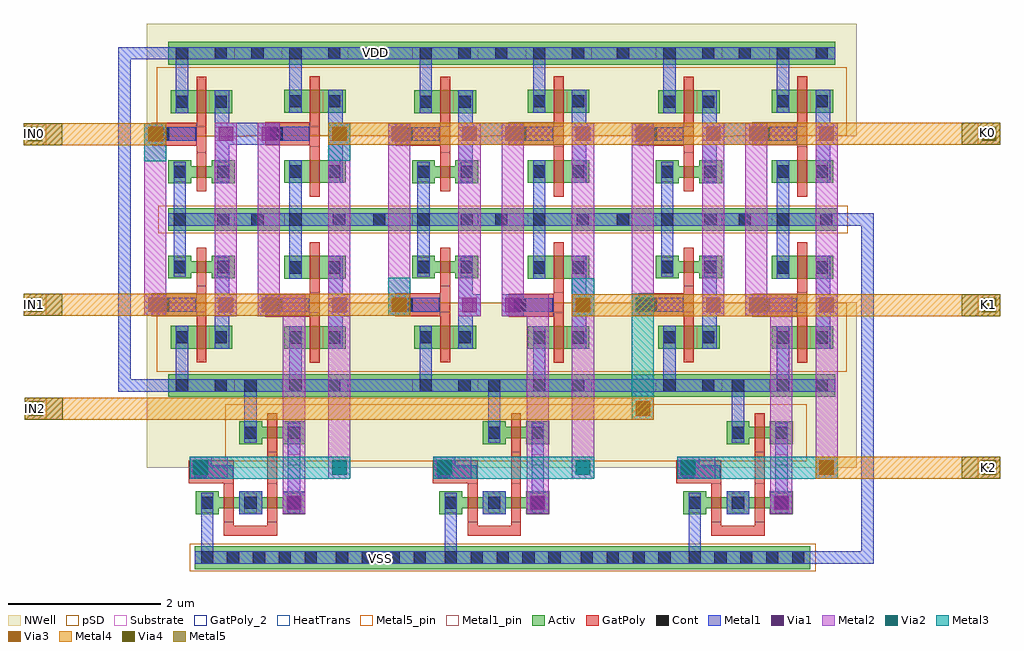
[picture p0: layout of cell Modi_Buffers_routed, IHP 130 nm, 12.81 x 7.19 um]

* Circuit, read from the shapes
.subckt Modi_Buffers_routed IN0 IN1 IN2 K0 K1 K2 VDD VSS
XM1 Modi_Buffers_placement_23/Buffers$1_0_0/INV05_2/VOUT IN0 VSS VSS sg13_lv_nmos w=0.15u l=0.13u m=2
XM2 n1 K0 VSS VSS sg13_lv_nmos w=0.15u l=0.13u
XM3 Modi_Buffers_placement_23/Buffers$1_0_0/INV05_2/VOUT K0 n1 VSS sg13_lv_nmos w=0.15u l=0.13u
XM4 K0 Modi_Buffers_placement_23/Buffers$1_0_0/INV05_2/VOUT VSS VSS sg13_lv_nmos w=0.3u l=0.13u m=2
XM5 Modi_Buffers_placement_23/Buffers$1_0_1/INV05_2/VOUT IN1 VSS VSS sg13_lv_nmos w=0.15u l=0.13u m=2
XM6 n2 K1 VSS VSS sg13_lv_nmos w=0.15u l=0.13u
XM7 Modi_Buffers_placement_23/Buffers$1_0_1/INV05_2/VOUT K1 n2 VSS sg13_lv_nmos w=0.15u l=0.13u
XM8 K1 Modi_Buffers_placement_23/Buffers$1_0_1/INV05_2/VOUT VSS VSS sg13_lv_nmos w=0.3u l=0.13u m=2
XM9 Modi_Buffers_placement_23/Buffers$1_0_2/INV05_2/VOUT IN2 VSS VSS sg13_lv_nmos w=0.15u l=0.13u m=2
XM10 n3 K2 VSS VSS sg13_lv_nmos w=0.15u l=0.13u
XM11 Modi_Buffers_placement_23/Buffers$1_0_2/INV05_2/VOUT K2 n3 VSS sg13_lv_nmos w=0.15u l=0.13u
XM12 K2 Modi_Buffers_placement_23/Buffers$1_0_2/INV05_2/VOUT VSS VSS sg13_lv_nmos w=0.3u l=0.13u m=2
XM13 Modi_Buffers_placement_23/Buffers$1_0_0/INV05_2/VOUT IN0 VDD VDD sg13_lv_pmos w=0.3u l=0.13u m=2
XM14 Modi_Buffers_placement_23/Buffers$1_0_0/INV05_2/VOUT K0 VDD VDD sg13_lv_pmos w=0.15u l=0.13u
XM15 K0 Modi_Buffers_placement_23/Buffers$1_0_0/INV05_2/VOUT VDD VDD sg13_lv_pmos w=0.3u l=0.13u m=2
XM16 Modi_Buffers_placement_23/Buffers$1_0_1/INV05_2/VOUT IN1 VDD VDD sg13_lv_pmos w=0.3u l=0.13u m=2
XM17 Modi_Buffers_placement_23/Buffers$1_0_1/INV05_2/VOUT K1 VDD VDD sg13_lv_pmos w=0.15u l=0.13u
XM18 K1 Modi_Buffers_placement_23/Buffers$1_0_1/INV05_2/VOUT VDD VDD sg13_lv_pmos w=0.3u l=0.13u m=2
XM19 Modi_Buffers_placement_23/Buffers$1_0_2/INV05_2/VOUT IN2 VDD VDD sg13_lv_pmos w=0.3u l=0.13u m=2
XM20 Modi_Buffers_placement_23/Buffers$1_0_2/INV05_2/VOUT K2 VDD VDD sg13_lv_pmos w=0.15u l=0.13u
XM21 K2 Modi_Buffers_placement_23/Buffers$1_0_2/INV05_2/VOUT VDD VDD sg13_lv_pmos w=0.3u l=0.13u m=2
.ends

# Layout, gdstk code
import gdstk
lib = gdstk.Library(unit=1e-6, precision=5e-09)
def R(c, l, rs):  # rectangles x0, y0, x1, y1
    for r in rs: c.add(gdstk.rectangle(r[:2], r[2:], *l))
def A(c, l, x, y, w, h, nx, ny, dx, dy):  # array of equal rectangles
    R(c, l, [(x+i*dx, y+j*dy, x+i*dx+w, y+j*dy+h) for i in range(nx) for j in range(ny)])
Activ = (1, 0)
GatPoly = (5, 0)
GatPoly_2 = (5, 2)
Cont = (6, 0)
Metal1 = (8, 0)
Metal1_pin = (8, 2)
Metal2 = (10, 0)
pSD = (14, 0)
Via1 = (19, 0)
Via2 = (29, 0)
Metal3 = (30, 0)
NWell = (31, 0)
Substrate = (40, 0)
Via3 = (49, 0)
Metal4 = (50, 0)
HeatTrans = (51, 0)
Via4 = (66, 0)
Metal5 = (67, 0)
Metal5_pin = (67, 2)

via2_constraint_16 = lib.new_cell('Via2_constraint$16')
R(via2_constraint_16, Metal2, [(0,0,0.29,0.29)])
R(via2_constraint_16, Via2, [(0.05,0.05,0.24,0.24)])
R(via2_constraint_16, Metal3, [(0,0,0.29,0.29)])

via3_constraint_9 = lib.new_cell('Via3_constraint$9')
R(via3_constraint_9, Metal3, [(0,0,0.29,0.29)])
R(via3_constraint_9, Via3, [(0.05,0.05,0.24,0.24)])
R(via3_constraint_9, Metal4, [(0,0,0.29,0.29)])

via4_constraint_4 = lib.new_cell('Via4_constraint$4')
R(via4_constraint_4, Metal4, [(0,0,0.29,0.29)])
R(via4_constraint_4, Via4, [(0.05,0.05,0.24,0.24)])
R(via4_constraint_4, Metal5, [(0,0,0.29,0.29)])

nmos_17 = lib.new_cell('nmos$17')
R(nmos_17, Activ, [(0,0,0.3,0.3), (0.57,0,0.87,0.3), (0,0.075,0.87,0.225)])
R(nmos_17, GatPoly, [(0.37,-0.105,0.5,0.405)])
R(nmos_17, GatPoly_2, [(0.37,-0.105,0.5,0.405)])
R(nmos_17, Cont, [(0.07,0.07,0.23,0.23), (0.64,0.07,0.8,0.23)])
R(nmos_17, Metal1, [(0.07,0.02,0.23,0.28), (0.64,0.02,0.8,0.28)])
R(nmos_17, Metal1_pin, [(0.07,0.02,0.23,0.28), (0.64,0.02,0.8,0.28)])
R(nmos_17, HeatTrans, [(0.37,-0.105,0.5,0.405)])
nmos_17.add(gdstk.Label('nmos', (0.435,0.15), layer=63, texttype=0))
nmos_17.add(gdstk.Label('nmos', (0.435,0.15), layer=51, texttype=0))

pmos_1_8 = lib.new_cell('pmos$1$8')
R(pmos_1_8, Activ, [(0,0,0.3,0.3), (0,0,0.81,0.3), (0.51,0,0.81,0.3)])
R(pmos_1_8, GatPoly, [(0.34,-0.18,0.47,0.48), (0.34,-0.18,0.47,0.48)])
R(pmos_1_8, Cont, [(0.07,0.07,0.23,0.23), (0.58,0.07,0.74,0.23)])
R(pmos_1_8, Metal1, [(0.07,0,0.23,0.3), (0.07,0,0.23,0.3), (0.58,0,0.74,0.3), (0.58,0,0.74,0.3)])
R(pmos_1_8, pSD, [(-0.18,-0.3,0.99,0.6)])
R(pmos_1_8, NWell, [(-0.31,-0.31,1.12,0.61)])
R(pmos_1_8, Substrate, [(0.51,0,0.81,0.3)])
R(pmos_1_8, HeatTrans, [(0.34,-0.18,0.47,0.48)])
pmos_1_8.add(gdstk.Label('pmos', (0.405,0.15), layer=63, texttype=0))
pmos_1_8.add(gdstk.Label('pmos', (0.405,0.15), layer=51, texttype=0))

via1_constraint_16 = lib.new_cell('Via1_constraint$16')
R(via1_constraint_16, Metal1, [(0,0,0.29,0.29)])
R(via1_constraint_16, Metal2, [(0,0,0.29,0.29)])
R(via1_constraint_16, Via1, [(0.05,0.05,0.24,0.24)])

inv_d1_8 = lib.new_cell('INV_D1$8')
R(inv_d1_8, Activ, [(0.28,-0.04,1.15,0.26), (0.28,2.14,1.15,2.44)])
R(inv_d1_8, GatPoly, [(0.06,1.08,0.65,1.38), (0.65,1.11,0.78,1.325)])
R(inv_d1_8, GatPoly_2, [(0.06,1.08,0.65,1.38)])
R(inv_d1_8, Cont, [(0.35,0.03,0.51,0.19), (0.92,0.03,1.08,0.19), (0.13,1.15,0.29,1.31), (0.38,2.21,0.54,2.37), (0.89,2.21,1.05,2.37)])
R(inv_d1_8, Metal1, [(0.28,0.03,1.15,0.19), (0.07,1.14,0.64,1.32), (0.28,2.21,1.15,2.37)])
R(inv_d1_8, Metal1_pin, [(0.28,0.03,1.15,0.19), (0.07,1.14,0.64,1.32), (0.89,1.14,1.08,1.32), (0.28,2.21,1.15,2.37)])
R(inv_d1_8, pSD, [(0.15,-0.07,1.28,0.29)])
R(inv_d1_8, NWell, [(0,2.115,1.43,2.68)])
R(inv_d1_8, Substrate, [(0.82,1.505,1.12,1.805)])
inv_d1_8.add(gdstk.FlexPath([(0.46,1.805),(0.46,2.37)], 0.16, ends="flush", simple_path=True, layer=8, datatype=0))  # Metal1
inv_d1_8.add(gdstk.FlexPath([(0.43,0.865),(0.43,0.03)], 0.16, ends="flush", simple_path=True, layer=8, datatype=0))  # Metal1
inv_d1_8.add(gdstk.FlexPath([(0.985,0.585),(0.985,1.805)], 0.19, ends="flush", simple_path=True, layer=8, datatype=0))  # Metal1
inv_d1_8.add(gdstk.FlexPath([(0.715,1.11),(0.715,0.99)], 0.13, ends="flush", simple_path=True, layer=5, datatype=0))  # GatPoly
inv_d1_8.add(gdstk.Reference(nmos_17, (0.28,0.585)))
inv_d1_8.add(gdstk.Reference(pmos_1_8, (0.31,1.505)))
inv_d1_8.add(gdstk.Reference(via1_constraint_16, (-0.035,1.085)))
inv_d1_8.add(gdstk.Reference(via1_constraint_16, (0.89,1.09)))
inv_d1_8.add(gdstk.Label('nmos', (0.715,0.655), layer=63, texttype=0))
inv_d1_8.add(gdstk.Label('VDD', (0.655,2.285), layer=8, texttype=25))
inv_d1_8.add(gdstk.Label('VSS', (0.65,0.105), layer=8, texttype=25))
inv_d1_8.add(gdstk.Label('VIN', (0.285,1.175), layer=8, texttype=25))
inv_d1_8.add(gdstk.Label('VOUT', (1.03,1.165), layer=8, texttype=25))

pmos_10 = lib.new_cell('pmos$10')
R(pmos_10, Activ, [(0,0,0.3,0.3), (0,0,0.81,0.3), (0.51,0,0.81,0.3)])
R(pmos_10, GatPoly, [(0.34,-0.18,0.47,0.48), (0.34,-0.18,0.47,0.48)])
R(pmos_10, Cont, [(0.07,0.07,0.23,0.23), (0.58,0.07,0.74,0.23)])
R(pmos_10, Metal1, [(0.07,0,0.23,0.3), (0.07,0,0.23,0.3), (0.58,0,0.74,0.3), (0.58,0,0.74,0.3)])
R(pmos_10, pSD, [(-0.18,-0.3,0.99,0.6)])
R(pmos_10, NWell, [(-0.31,-0.31,1.12,0.61)])
R(pmos_10, Substrate, [(0.51,0,0.81,0.3)])
R(pmos_10, HeatTrans, [(0.34,-0.18,0.47,0.48)])
pmos_10.add(gdstk.Label('pmos', (0.405,0.15), layer=63, texttype=0))
pmos_10.add(gdstk.Label('pmos', (0.405,0.15), layer=51, texttype=0))

nmos_1_8 = lib.new_cell('nmos$1$8')
R(nmos_1_8, Activ, [(0,0,0.3,0.3), (0,0,0.81,0.3), (0.51,0,0.81,0.3)])
R(nmos_1_8, GatPoly, [(0.34,-0.18,0.47,0.48)])
R(nmos_1_8, GatPoly_2, [(0.34,-0.18,0.47,0.48)])
R(nmos_1_8, Cont, [(0.07,0.07,0.23,0.23), (0.58,0.07,0.74,0.23)])
R(nmos_1_8, Metal1, [(0.07,0,0.23,0.3), (0.58,0,0.74,0.3)])
R(nmos_1_8, Metal1_pin, [(0.07,0,0.23,0.3), (0.58,0,0.74,0.3)])
R(nmos_1_8, HeatTrans, [(0.34,-0.18,0.47,0.48)])
nmos_1_8.add(gdstk.Label('nmos', (0.405,0.15), layer=63, texttype=0))
nmos_1_8.add(gdstk.Label('nmos', (0.405,0.15), layer=51, texttype=0))

inv_d1_1_8 = lib.new_cell('INV_D1$1$8')
R(inv_d1_1_8, Activ, [(0.31,-0.045,1.18,0.255), (0.28,2.135,1.15,2.435)])
R(inv_d1_1_8, GatPoly, [(0.06,1.08,0.65,1.38), (0.65,1.11,0.78,1.325)])
R(inv_d1_1_8, GatPoly_2, [(0.06,1.08,0.65,1.38)])
R(inv_d1_1_8, Cont, [(0.38,0.025,0.54,0.185), (0.95,0.025,1.11,0.185), (0.13,1.15,0.29,1.31), (0.38,2.205,0.54,2.365), (0.89,2.205,1.05,2.365)])
R(inv_d1_1_8, Metal1, [(0.31,0.025,1.18,0.185), (0.07,1.14,0.64,1.32), (0.28,2.205,1.15,2.365)])
R(inv_d1_1_8, Metal1_pin, [(0.31,0.025,1.18,0.185), (0.07,1.14,0.64,1.32), (0.89,1.14,1.08,1.32), (0.28,2.205,1.15,2.365)])
R(inv_d1_1_8, pSD, [(0.18,-0.075,1.31,0.285)])
R(inv_d1_1_8, NWell, [(0,2.115,1.43,2.675)])
R(inv_d1_1_8, Substrate, [(0.82,1.505,1.12,1.805)])
inv_d1_1_8.add(gdstk.FlexPath([(0.46,0.865),(0.46,0.025)], 0.16, ends="flush", simple_path=True, layer=8, datatype=0))  # Metal1
inv_d1_1_8.add(gdstk.FlexPath([(0.46,1.805),(0.46,2.365)], 0.16, ends="flush", simple_path=True, layer=8, datatype=0))  # Metal1
inv_d1_1_8.add(gdstk.FlexPath([(0.985,0.585),(0.985,1.805)], 0.19, ends="flush", simple_path=True, layer=8, datatype=0))  # Metal1
inv_d1_1_8.add(gdstk.FlexPath([(0.715,1.11),(0.715,0.99)], 0.13, ends="flush", simple_path=True, layer=5, datatype=0))  # GatPoly
inv_d1_1_8.add(gdstk.Reference(pmos_10, (0.31,1.505)))
inv_d1_1_8.add(gdstk.Reference(nmos_1_8, (0.31,0.585)))
inv_d1_1_8.add(gdstk.Label('nmos', (0.745,0.655), layer=63, texttype=0))
inv_d1_1_8.add(gdstk.Label('VSS', (0.68,0.1), layer=8, texttype=25))
inv_d1_1_8.add(gdstk.Label('VIN', (0.285,1.175), layer=8, texttype=25))
inv_d1_1_8.add(gdstk.Label('VOUT', (1.03,1.165), layer=8, texttype=25))
inv_d1_1_8.add(gdstk.Label('VDD', (0.655,2.28), layer=8, texttype=25))

inv_d2 = lib.new_cell('INV_D2')
inv_d2.add(gdstk.Reference(inv_d1_1_8, (9.805,-0.765)))
inv_d2.add(gdstk.Reference(via1_constraint_16, (9.77,0.32)))
inv_d2.add(gdstk.Reference(via1_constraint_16, (10.695,0.32)))

pmos_2_6 = lib.new_cell('pmos$2$6')
R(pmos_2_6, Activ, [(0,0,0.3,0.3), (0.57,0,0.87,0.3), (0,0.075,0.87,0.225)])
R(pmos_2_6, GatPoly, [(0.37,-0.105,0.5,0.405), (0.37,-0.105,0.5,0.405)])
R(pmos_2_6, Cont, [(0.07,0.07,0.23,0.23), (0.64,0.07,0.8,0.23)])
R(pmos_2_6, Metal1, [(0.07,0.02,0.23,0.28), (0.07,0.02,0.23,0.28), (0.64,0.02,0.8,0.28), (0.64,0.02,0.8,0.28)])
R(pmos_2_6, pSD, [(-0.18,-0.225,1.05,0.525)])
R(pmos_2_6, NWell, [(-0.31,-0.31,1.18,0.61)])
R(pmos_2_6, Substrate, [(0.57,0,0.87,0.3)])
R(pmos_2_6, HeatTrans, [(0.37,-0.105,0.5,0.405)])
pmos_2_6.add(gdstk.Label('pmos', (0.435,0.15), layer=63, texttype=0))
pmos_2_6.add(gdstk.Label('pmos', (0.435,0.15), layer=51, texttype=0))

nmos_2_4 = lib.new_cell('nmos$2$4')
R(nmos_2_4, Activ, [(0,0,0.3,0.3), (0.57,0,0.87,0.3), (0,0.075,0.87,0.225)])
R(nmos_2_4, GatPoly, [(0.37,-0.105,0.5,0.405)])
R(nmos_2_4, GatPoly_2, [(0.37,-0.105,0.5,0.405)])
R(nmos_2_4, Cont, [(0.07,0.07,0.23,0.23), (0.64,0.07,0.8,0.23)])
R(nmos_2_4, Metal1, [(0.07,0.02,0.23,0.28), (0.64,0.02,0.8,0.28)])
R(nmos_2_4, Metal1_pin, [(0.07,0.02,0.23,0.28), (0.64,0.02,0.8,0.28)])
R(nmos_2_4, HeatTrans, [(0.37,-0.105,0.5,0.405)])
nmos_2_4.add(gdstk.Label('nmos', (0.435,0.15), layer=63, texttype=0))
nmos_2_4.add(gdstk.Label('nmos', (0.435,0.15), layer=51, texttype=0))

via_stack_62 = lib.new_cell('via_stack$62')
R(via_stack_62, Activ, [(-0.83,-0.15,0.83,0.15)])
A(via_stack_62, Cont, -0.76, -0.08, 0.16, 0.16, 5, 1, 0.34, 0)
R(via_stack_62, Metal1, [(-0.81,-0.08,0.81,0.08)])

inv05 = lib.new_cell('INV05')
R(inv05, Activ, [(0.08,0.03,1.76,0.33), (0.35,2.29,1.54,2.59)])
R(inv05, GatPoly, [(0,1.155,0.59,1.455)])
R(inv05, GatPoly_2, [(0.46,1.035,0.59,1.155), (0,1.155,0.59,1.455)])
R(inv05, Cont, [(0.73,0.82,0.89,0.98), (0.07,1.225,0.23,1.385), (0.73,2.36,0.89,2.52)])
R(inv05, Metal1, [(0.08,0.1,1.76,0.26), (0.66,0.75,0.96,1.05), (0.01,1.215,0.58,1.395), (0.35,2.36,1.54,2.52)])
R(inv05, Metal1_pin, [(0.16,0.1,0.32,0.26), (1.3,1.39,1.46,1.535), (0.73,2.36,0.89,2.52)])
R(inv05, pSD, [(0.01,0,1.83,0.36)])
R(inv05, NWell, [(0.05,1.36,0.35,2.28), (0.05,2.28,1.84,2.83)])
inv05.add(gdstk.FlexPath([(1.38,1.03),(1.38,1.69)], 0.16, ends="flush", simple_path=True, layer=8, datatype=0))  # Metal1
inv05.add(gdstk.FlexPath([(0.24,0.1),(0.24,0.77)], 0.16, ends="flush", simple_path=True, layer=8, datatype=0))  # Metal1
inv05.add(gdstk.FlexPath([(0.81,1.95),(0.81,2.52)], 0.16, ends="flush", simple_path=True, layer=8, datatype=0))  # Metal1
inv05.add(gdstk.FlexPath([(0.525,0.645),(0.525,0.535),(1.095,0.535),(1.095,0.645)], 0.13, ends="flush", simple_path=True, layer=5, datatype=0))  # GatPoly
inv05.add(gdstk.FlexPath([(1.095,1.155),(1.095,1.565)], 0.13, ends="flush", simple_path=True, layer=5, datatype=0))  # GatPoly
inv05.add(gdstk.Reference(pmos_2_6, (0.66,1.67)))
inv05.add(gdstk.Reference(nmos_2_4, (0.09,0.75)))
inv05.add(gdstk.Reference(nmos_2_4, (0.66,0.75)))
inv05.add(gdstk.Reference(via1_constraint_16, (0.01,1.215)))
inv05.add(gdstk.Reference(via1_constraint_16, (1.235,0.755)))
inv05.add(gdstk.Reference(via_stack_62, (0.92,0.18)))
inv05.add(gdstk.Label('VSS', (0.275,0.205), layer=8, texttype=2))
inv05.add(gdstk.Label('VOUT', (1.43,1.505), layer=8, texttype=2))
inv05.add(gdstk.Label('VDD', (0.84,2.49), layer=8, texttype=2))
inv05.add(gdstk.Label('VIN', (0.18,1.28), layer=8, texttype=25))

buffers_1 = lib.new_cell('Buffers$1')
buffers_1.add(gdstk.Reference(inv_d1_8, (0,4.51)))
buffers_1.add(gdstk.Reference(inv_d2, (-8.315,5.28)))
buffers_1.add(gdstk.Reference(inv05, (0.55,0)))
buffers_1.add(gdstk.Reference(inv_d1_8, (0,4.73), x_reflection=True))
buffers_1.add(gdstk.Reference(inv_d2, (-8.315,3.96), x_reflection=True))

modi_buffers_placement = lib.new_cell('Modi_Buffers_placement')
r = gdstk.Reference(buffers_1, (0,0)); r.repetition = gdstk.Repetition(3, 1, v1=(3.2,0), v2=(0,0)); modi_buffers_placement.add(r)

via_stack_61 = lib.new_cell('via_stack$61')
R(via_stack_61, Activ, [(-0.66,-0.15,0.66,0.15)])
A(via_stack_61, Cont, -0.59, -0.08, 0.16, 0.16, 4, 1, 0.34, 0)
R(via_stack_61, Metal1, [(-0.64,-0.08,0.64,0.08)])

via_stack_64 = lib.new_cell('via_stack$64')
R(via_stack_64, Activ, [(-0.15,-0.15,0.15,0.15)])
R(via_stack_64, Cont, [(-0.08,-0.08,0.08,0.08)])
R(via_stack_64, Metal1, [(-0.13,-0.08,0.13,0.08)])

modi_buffers_routed = lib.new_cell('Modi_Buffers_routed')
R(modi_buffers_routed, Activ, [(2.245,0.03,10.325,0.33), (1.895,2.29,10.655,2.59), (1.895,4.47,10.685,4.77), (1.895,6.65,10.655,6.95)])
A(modi_buffers_routed, Metal1, 2.505, 5.6, 0.855, 0.29, 3, 1, 3.2, 0)
R(modi_buffers_routed, Metal1, [(2.245,0.1,10.325,0.26), (10.325,0.1,11.155,0.26), (10.995,0.1,11.155,4.7), (1.24,2.36,1.895,2.52), (1.24,2.36,1.4,6.88), (1.895,2.36,10.655,2.52), (1.895,4.54,10.685,4.7), (10.685,4.54,11.155,4.7), (1.24,6.72,1.895,6.88), (1.895,6.72,10.655,6.88)])
A(modi_buffers_routed, Metal2, 3.4, 0.755, 0.29, 2.885, 3, 1, 3.2, 0)
A(modi_buffers_routed, Metal2, 2.465, 1.215, 0.21, 0.29, 3, 1, 3.2, 0)
A(modi_buffers_routed, Metal2, 3.995, 1.215, 0.29, 2.425, 3, 1, 3.2, 0)
A(modi_buffers_routed, Metal2, 3.07, 3.35, 0.62, 0.29, 3, 1, 3.2, 0)
A(modi_buffers_routed, Metal2, 1.58, 3.355, 0.29, 2.53, 3, 1, 3.2, 0)
R(modi_buffers_routed, Metal2, [(3.07,3.35,3.36,5.89), (3.995,3.35,4.285,5.89), (5.705,3.35,5.995,5.89), (6.27,3.35,6.56,5.89), (7.195,3.35,7.485,5.89), (9.47,3.35,9.76,5.89), (10.395,3.35,10.685,5.89), (2.505,3.355,2.795,5.89), (8.905,3.355,9.195,5.89)])
R(modi_buffers_routed, pSD, [(2.175,0,10.395,0.36), (2.645,1.445,10.275,2.195), (1.745,2.62,10.805,3.525), (1.765,4.44,10.815,4.8), (1.745,5.72,10.805,6.615)])
A(modi_buffers_routed, Metal3, 2.175, 1.215, 2.11, 0.29, 3, 1, 3.2, 0)
R(modi_buffers_routed, Metal3, [(7.98,1.99,8.27,3.645), (7.195,3.64,7.485,3.85), (4.78,3.645,5.07,3.855), (1.58,5.385,1.87,5.595), (3.995,5.39,4.285,5.6)])
R(modi_buffers_routed, NWell, [(1.615,1.36,10.935,3.53), (1.615,5.71,10.935,7.19)])
R(modi_buffers_routed, Metal4, [(10.395,1.215,12.815,1.505), (0.01,1.99,8.27,2.28), (7.195,3.35,12.815,3.64), (0,3.355,5.07,3.645), (0,5.595,1.87,5.885), (3.995,5.6,12.815,5.89), (3.995,5.6,12.815,5.89)])
R(modi_buffers_routed, Metal5, [(12.315,1.215,12.525,1.505), (0.3,1.99,0.51,2.28), (12.315,3.35,12.525,3.64), (0.29,3.355,0.5,3.645), (0.29,5.595,0.5,5.885), (12.315,5.6,12.525,5.89)])
R(modi_buffers_routed, Metal5_pin, [(12.525,1.215,12.815,1.505), (0.01,1.99,0.3,2.28), (12.525,3.35,12.815,3.64), (0,3.355,0.29,3.645), (0,5.595,0.29,5.885), (12.525,5.6,12.815,5.89)])
modi_buffers_routed.add(gdstk.Reference(via2_constraint_16, (2.175,1.215)))
modi_buffers_routed.add(gdstk.Reference(via2_constraint_16, (3.995,1.215)))
modi_buffers_routed.add(gdstk.Reference(via2_constraint_16, (5.375,1.215)))
modi_buffers_routed.add(gdstk.Reference(via2_constraint_16, (8.575,1.215)))
modi_buffers_routed.add(gdstk.Reference(via2_constraint_16, (7.195,1.215)))
modi_buffers_routed.add(gdstk.Reference(via2_constraint_16, (10.395,1.215)))
modi_buffers_routed.add(gdstk.Reference(via2_constraint_16, (1.58,5.595)))
modi_buffers_routed.add(gdstk.Reference(via2_constraint_16, (3.995,5.6)))
modi_buffers_routed.add(gdstk.Reference(via2_constraint_16, (4.78,3.355)))
modi_buffers_routed.add(gdstk.Reference(via2_constraint_16, (7.195,3.35)))
modi_buffers_routed.add(gdstk.Reference(via2_constraint_16, (7.98,3.355)))
modi_buffers_routed.add(gdstk.Reference(via3_constraint_9, (1.58,5.595)))
modi_buffers_routed.add(gdstk.Reference(via3_constraint_9, (3.995,5.6)))
modi_buffers_routed.add(gdstk.Reference(via3_constraint_9, (4.78,3.355)))
modi_buffers_routed.add(gdstk.Reference(via3_constraint_9, (7.195,3.35)))
modi_buffers_routed.add(gdstk.Reference(via3_constraint_9, (10.395,1.215)))
modi_buffers_routed.add(gdstk.Reference(via3_constraint_9, (7.98,1.99)))
modi_buffers_routed.add(gdstk.Reference(via4_constraint_4, (0,5.595)))
modi_buffers_routed.add(gdstk.Reference(via4_constraint_4, (0,3.355)))
modi_buffers_routed.add(gdstk.Reference(via4_constraint_4, (0.01,1.99)))
modi_buffers_routed.add(gdstk.Reference(via4_constraint_4, (12.525,5.6)))
modi_buffers_routed.add(gdstk.Reference(via4_constraint_4, (12.525,3.35)))
modi_buffers_routed.add(gdstk.Reference(via4_constraint_4, (12.525,1.215)))
modi_buffers_routed.add(gdstk.Reference(modi_buffers_placement, (1.615,0)))
modi_buffers_routed.add(gdstk.Reference(via_stack_61, (4.685,0.18)))
modi_buffers_routed.add(gdstk.Reference(via_stack_61, (7.9,0.18)))
r = gdstk.Reference(via_stack_64, (3.065,6.8)); r.repetition = gdstk.Repetition(5, 1, v1=(1.6,0), v2=(0,0)); modi_buffers_routed.add(r)
r = gdstk.Reference(via_stack_64, (3.065,4.62)); r.repetition = gdstk.Repetition(5, 1, v1=(1.6,0), v2=(0,0)); modi_buffers_routed.add(r)
modi_buffers_routed.add(gdstk.Label('VDD', (4.62,6.815), layer=8, texttype=25))
modi_buffers_routed.add(gdstk.Label('VSS', (4.675,0.17), layer=8, texttype=25))
modi_buffers_routed.add(gdstk.Label('IN0', (0.14,5.75), layer=67, texttype=25))
modi_buffers_routed.add(gdstk.Label('IN1', (0.135,3.5), layer=67, texttype=25))
modi_buffers_routed.add(gdstk.Label('IN2', (0.145,2.135), layer=67, texttype=25))
modi_buffers_routed.add(gdstk.Label('K0', (12.655,5.765), layer=67, texttype=25))
modi_buffers_routed.add(gdstk.Label('K1', (12.66,3.505), layer=67, texttype=25))
modi_buffers_routed.add(gdstk.Label('K2', (12.66,1.36), layer=67, texttype=25))

lib.write_gds('Modi_Buffers_routed.gds')
